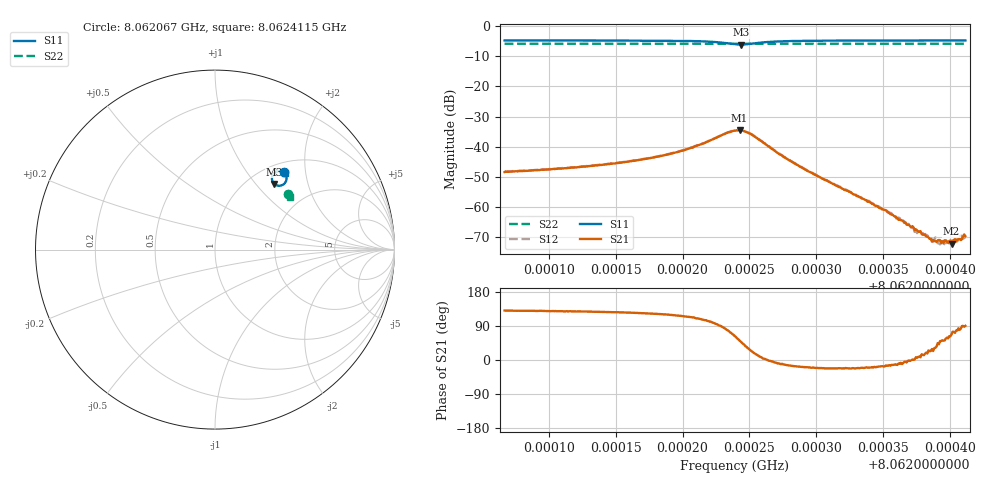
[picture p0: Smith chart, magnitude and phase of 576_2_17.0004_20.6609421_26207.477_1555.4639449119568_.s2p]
#  HZ  S  RI  R  50.00
! Rohde & Schwarz Vector Network Analyzer
! Rohde-Schwarz,ZNB20-2Port,1311601062101988,3.16
! Created: UTC 3/20/2024, 11:17:55 PM
! freq[Hz]  re:S11  im:S11  re:S21  im:S21  re:S12  im:S12  re:S22  im:S22
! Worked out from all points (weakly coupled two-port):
!   401 points, 8.062067 GHz to 8.0624115 GHz, reference 50 ohm
!   highest |S21| = -34.54 dB at 8.0622427 GHz (marker M1); lowest = -72.1 dB at 8.0624011 GHz (marker M2)
!   lowest |S11| = -6.1 dB at 8.0622435 GHz (marker M3), VSWR 2.94, Z = 65.1 + j62.9 ohm
!   |S11| at or under -10 dB: nowhere
!   |S22| runs from -5.9 to -5.9 dB; largest |S21 - S12| = 0.0012
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8.06206701e9  0.3817 0.4314  -0.00248 0.0029  -0.00233 0.0031  0.4049 0.3075
8.06212471e9  0.3871 0.4255  -0.00286 0.00367  -0.00269 0.00387  0.4071 0.3046
8.06215313e9  0.3905 0.4211  -0.00317 0.0044  -0.00294 0.00464  0.4082 0.3031
8.06218241e9  0.3949 0.4133  -0.0036 0.00591  -0.00329 0.00618  0.4093 0.3011
8.06220566e9  0.3983 0.3997  -0.00369 0.00873  -0.00322 0.00896  0.4098 0.2995
8.06222632e9  0.3896 0.3712  -0.000872 0.0145  -6.51e-05 0.0146  0.4099 0.2974
8.06223924e9  0.3491 0.3565  0.00847 0.0165  0.00946 0.0162  0.4083 0.2967
8.06224269e9  0.3342 0.363  0.0117 0.0146  0.0127 0.0141  0.4078 0.297
8.06224355e9  0.3309 0.3655  0.0123 0.0139  0.0132 0.0134  0.4078 0.297
8.06225216e9  0.3172 0.4005  0.0146 0.0058  0.0151 0.00498  0.4079 0.2985
8.06227713e9  0.3511 0.4365  0.00633 -0.00144  0.00629 -0.00185  0.4107 0.2984
8.06229694e9  0.3655 0.4364  0.00342 -0.00126  0.0034 -0.00151  0.4122 0.2973
8.06235464e9  0.3811 0.4305  0.000767 -0.000186  0.00077 -0.000257  0.4145 0.294
8.0623753e9  0.3839 0.4286  0.000412 4.07e-05  0.00037 2.77e-05  0.4154 0.2928
8.06238305e9  0.3849 0.4278  0.000309 9.67e-05  0.000325 9.59e-05  0.4157 0.2925
8.0623865e9  0.3853 0.4276  0.000234 0.00013  0.000259 0.000132  0.4156 0.2923
8.06238822e9  0.3855 0.4275  0.000237 0.000145  0.000248 0.000139  0.4157 0.2922
8.06239339e9  0.386 0.427  0.000163 0.000196  0.000203 0.000153  0.416 0.2918
8.06239941e9  0.3868 0.4265  0.000126 0.000243  9.79e-05 0.00023  0.4162 0.2916
8.06240114e9  0.387 0.4264  9.33e-05 0.000229  0.000119 0.000252  0.4162 0.2914
8.06240803e9  0.3876 0.426  3.73e-05 0.000282  8.19e-05 0.000329  0.4166 0.2911
8.06241147e9  0.3879 0.4257  -1.22e-06 0.000332  1.23e-05 0.000311  0.4166 0.2911
